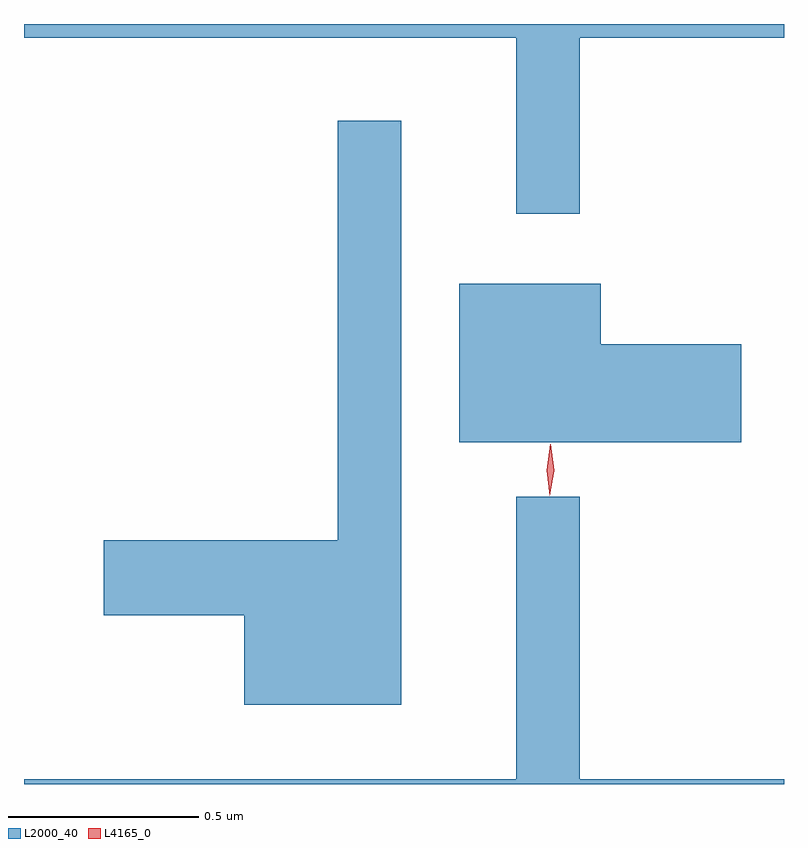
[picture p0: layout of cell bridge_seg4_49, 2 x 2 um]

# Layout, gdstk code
import gdstk
lib = gdstk.Library(unit=1e-6, precision=1e-09)
def P(c, l, *ps):  # polygons
    for p in ps: c.add(gdstk.Polygon(p, *l))
L2000_40 = (2000, 40)
L4165_0 = (4165, 0)

bridge_seg4_49 = lib.new_cell('bridge_seg4_49')
P(bridge_seg4_49, L2000_40, [(1296.579,1330.256),(1297.116,1330.256),(1297.116,1330.292),(1295.116,1330.292),(1295.116,1330.256),(1296.411,1330.256),(1296.411,1329.793),(1296.579,1329.793)],
  [(1296.109,1330.038),(1295.941,1330.038),(1295.941,1328.934),(1295.326,1328.934),(1295.326,1328.736),(1295.696,1328.736),(1295.696,1328.501),(1296.109,1328.501)],
  [(1297.004,1329.449),(1296.634,1329.449),(1296.634,1329.609),(1296.261,1329.609),(1296.261,1329.191),(1297.004,1329.191)],
  [(1297.116,1328.304),(1296.579,1328.304),(1296.579,1329.048),(1296.411,1329.048),(1296.411,1328.304),(1295.116,1328.304),(1295.116,1328.292),(1297.116,1328.292)])
P(bridge_seg4_49, L4165_0, [(1296.5,1329.053),(1296.5,1329.053),(1296.491,1329.116),(1296.501,1329.179),(1296.502,1329.18),(1296.502,1329.179),(1296.511,1329.116),(1296.5,1329.053)],
  [(1296.5,1329.05),(1296.5,1329.05),(1296.491,1329.118),(1296.501,1329.186),(1296.502,1329.186),(1296.502,1329.186),(1296.511,1329.118),(1296.5,1329.05)])

lib.write_gds('bridge_seg4_49.gds')
